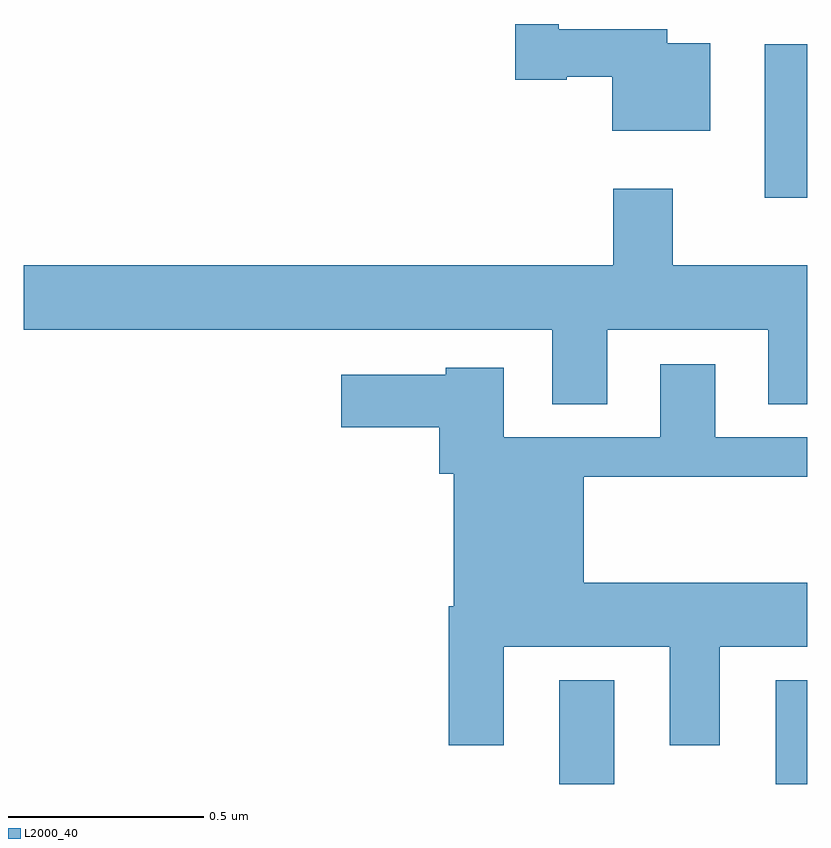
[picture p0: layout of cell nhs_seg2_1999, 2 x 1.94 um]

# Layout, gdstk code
import gdstk
lib = gdstk.Library(unit=1e-6, precision=1e-09)
def R(c, l, rs):  # rectangles x0, y0, x1, y1
    for r in rs: c.add(gdstk.rectangle(r[:2], r[2:], *l))
def P(c, l, *ps):  # polygons
    for p in ps: c.add(gdstk.Polygon(p, *l))
L2000_40 = (2000, 40)

nhs_seg2_1999 = lib.new_cell('nhs_seg2_1999')
R(nhs_seg2_1999, L2000_40, [(136.367,655.8,136.507,656.065), (136.919,655.8,137,656.065), (136.892,657.296,137,657.688)])
P(nhs_seg2_1999, L2000_40, [(136.753,657.691),(136.642,657.691),(136.642,657.727),(136.366,657.727),(136.366,657.74),(136.254,657.74),(136.254,657.598),(136.386,657.598),(136.386,657.605),(136.502,657.605),(136.502,657.467),(136.753,657.467)],
  [(136.489,656.96),(136.901,656.96),(136.901,656.77),(137,656.77),(137,657.124),(136.657,657.124),(136.657,657.319),(136.505,657.319),(136.505,657.124),(135,657.124),(135,656.96),(136.349,656.96),(136.349,656.77),(136.489,656.77)],
  [(136.225,656.15),(136.649,656.15),(136.649,655.899),(136.777,655.899),(136.777,656.15),(137,656.15),(137,656.314),(136.429,656.314),(136.429,656.584),(137,656.584),(137,656.685),(136.765,656.685),(136.765,656.872),(136.625,656.872),(136.625,656.685),(136.225,656.685),(136.225,656.863),(136.077,656.863),(136.077,656.845),(135.81,656.845),(135.81,656.711),(136.061,656.711),(136.061,656.592),(136.097,656.592),(136.097,656.254),(136.085,656.254),(136.085,655.899),(136.225,655.899)])

lib.write_gds('nhs_seg2_1999.gds')
